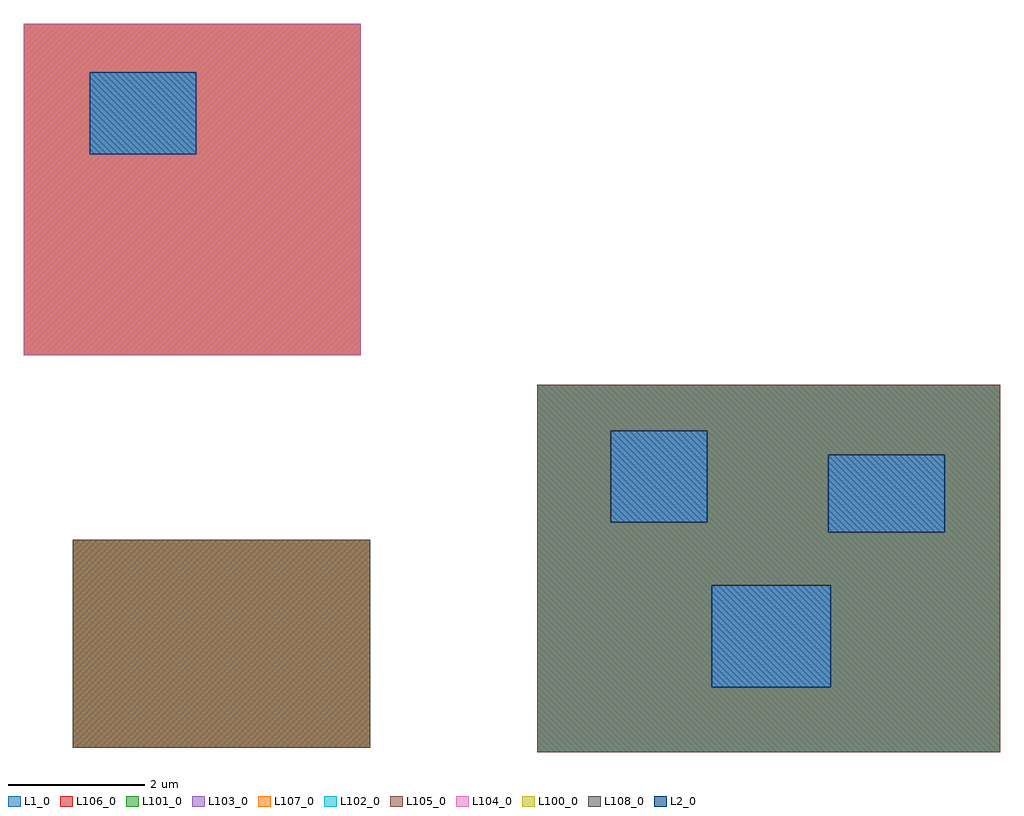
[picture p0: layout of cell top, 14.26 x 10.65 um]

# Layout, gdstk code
import gdstk
lib = gdstk.Library(unit=1e-6, precision=1e-09)
def R(c, l, rs):  # rectangles x0, y0, x1, y1
    for r in rs: c.add(gdstk.rectangle(r[:2], r[2:], *l))
def P(c, l, *ps):  # polygons
    for p in ps: c.add(gdstk.Polygon(p, *l))
L1_0 = (1, 0)
L2_0 = (2, 0)
L100_0 = (100, 0)
L101_0 = (101, 0)
L102_0 = (102, 0)
L103_0 = (103, 0)
L104_0 = (104, 0)
L105_0 = (105, 0)
L106_0 = (106, 0)
L107_0 = (107, 0)
L108_0 = (108, 0)

top = lib.new_cell('top')
R(top, L1_0, [(9.37,1.17,16.13,6.54), (2.58,1.24,6.93,4.28), (1.87,6.97,6.79,11.82)])
R(top, L2_0, [(11.92,2.12,13.66,3.61), (13.62,4.39,15.32,5.52), (10.44,4.53,11.85,5.87), (2.83,9.91,4.39,11.11)])
R(top, L100_0, [(2.58,1.24,6.93,4.28)])
P(top, L101_0, [(9.37,1.17),(9.37,3.61),(11.92,3.61),(11.92,2.12),(13.66,2.12),(13.66,3.61),(9.37,3.61),(9.37,5.87),(10.44,5.87),(10.44,4.53),(11.85,4.53),(11.85,5.52),(13.62,5.52),(13.62,4.39),(15.32,4.39),(15.32,5.52),(11.85,5.52),(11.85,5.87),(9.37,5.87),(9.37,6.54),(16.13,6.54),(16.13,1.17)],
  [(1.87,6.97),(1.87,11.11),(2.83,11.11),(2.83,9.91),(4.39,9.91),(4.39,11.11),(1.87,11.11),(1.87,11.82),(6.79,11.82),(6.79,6.97)])
P(top, L102_0, [(9.37,1.17),(9.37,3.61),(11.92,3.61),(11.92,2.12),(13.66,2.12),(13.66,3.61),(9.37,3.61),(9.37,5.87),(10.44,5.87),(10.44,4.53),(11.85,4.53),(11.85,5.52),(13.62,5.52),(13.62,4.39),(15.32,4.39),(15.32,5.52),(11.85,5.52),(11.85,5.87),(9.37,5.87),(9.37,6.54),(16.13,6.54),(16.13,1.17)])
P(top, L103_0, [(9.37,1.17),(9.37,3.61),(11.92,3.61),(11.92,2.12),(13.66,2.12),(13.66,3.61),(9.37,3.61),(9.37,5.87),(10.44,5.87),(10.44,4.53),(11.85,4.53),(11.85,5.52),(13.62,5.52),(13.62,4.39),(15.32,4.39),(15.32,5.52),(11.85,5.52),(11.85,5.87),(9.37,5.87),(9.37,6.54),(16.13,6.54),(16.13,1.17)],
  [(1.87,6.97),(1.87,11.11),(2.83,11.11),(2.83,9.91),(4.39,9.91),(4.39,11.11),(1.87,11.11),(1.87,11.82),(6.79,11.82),(6.79,6.97)])
P(top, L104_0, [(1.87,6.97),(1.87,11.11),(2.83,11.11),(2.83,9.91),(4.39,9.91),(4.39,11.11),(1.87,11.11),(1.87,11.82),(6.79,11.82),(6.79,6.97)])
P(top, L105_0, [(9.37,1.17),(9.37,3.61),(11.92,3.61),(11.92,2.12),(13.66,2.12),(13.66,3.61),(9.37,3.61),(9.37,5.87),(10.44,5.87),(10.44,4.53),(11.85,4.53),(11.85,5.52),(13.62,5.52),(13.62,4.39),(15.32,4.39),(15.32,5.52),(11.85,5.52),(11.85,5.87),(9.37,5.87),(9.37,6.54),(16.13,6.54),(16.13,1.17)])
R(top, L106_0, [(2.58,1.24,6.93,4.28)])
P(top, L106_0, [(9.37,1.17),(9.37,3.61),(11.92,3.61),(11.92,2.12),(13.66,2.12),(13.66,3.61),(9.37,3.61),(9.37,5.87),(10.44,5.87),(10.44,4.53),(11.85,4.53),(11.85,5.52),(13.62,5.52),(13.62,4.39),(15.32,4.39),(15.32,5.52),(11.85,5.52),(11.85,5.87),(9.37,5.87),(9.37,6.54),(16.13,6.54),(16.13,1.17)],
  [(1.87,6.97),(1.87,11.11),(2.83,11.11),(2.83,9.91),(4.39,9.91),(4.39,11.11),(1.87,11.11),(1.87,11.82),(6.79,11.82),(6.79,6.97)])
P(top, L107_0, [(9.37,1.17),(9.37,3.61),(11.92,3.61),(11.92,2.12),(13.66,2.12),(13.66,3.61),(9.37,3.61),(9.37,5.87),(10.44,5.87),(10.44,4.53),(11.85,4.53),(11.85,5.52),(13.62,5.52),(13.62,4.39),(15.32,4.39),(15.32,5.52),(11.85,5.52),(11.85,5.87),(9.37,5.87),(9.37,6.54),(16.13,6.54),(16.13,1.17)],
  [(1.87,6.97),(1.87,11.11),(2.83,11.11),(2.83,9.91),(4.39,9.91),(4.39,11.11),(1.87,11.11),(1.87,11.82),(6.79,11.82),(6.79,6.97)])
R(top, L108_0, [(2.58,1.24,6.93,4.28)])

lib.write_gds('top.gds')
